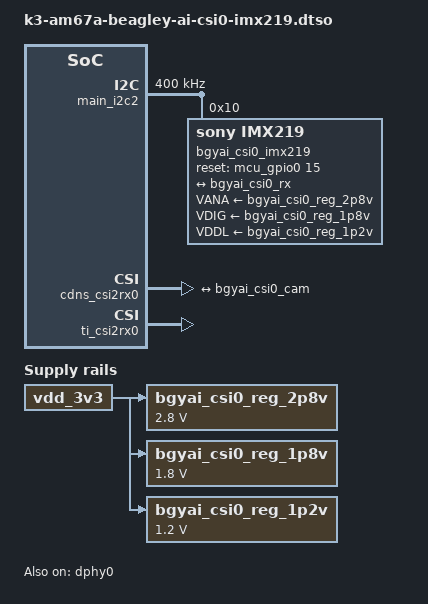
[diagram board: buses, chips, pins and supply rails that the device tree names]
// SPDX-License-Identifier: GPL-2.0-only OR MIT
/*
 * DT Overlay for Raspberry Pi Camera V2.1 on BeagleY-AI CSI0.
 *
 * Schematics: https://datasheets.raspberrypi.com/camera/camera-v2-schematics.pdf
 */

/dts-v1/;
/plugin/;

#include <dt-bindings/gpio/gpio.h>
#include "k3-pinctrl.h"

&{/} {
	bgyai_csi0_clk_imx219: clock-24000000 {
		compatible = "fixed-clock";
		#clock-cells = <0>;
		clock-frequency = <24000000>;
	};

	bgyai_csi0_reg_2p8v: regulator-camera-2p8v {
		compatible = "regulator-fixed";
		regulator-name = "camera-2p8v";
		regulator-min-microvolt = <2800000>;
		regulator-max-microvolt = <2800000>;
		vin-supply = <&vdd_3v3>;
		regulator-always-on;
	};

	bgyai_csi0_reg_1p8v: regulator-camera-1p8v {
		compatible = "regulator-fixed";
		regulator-name = "camera-1p8v";
		regulator-min-microvolt = <1800000>;
		regulator-max-microvolt = <1800000>;
		vin-supply = <&vdd_3v3>;
		regulator-always-on;
	};

	bgyai_csi0_reg_1p2v: regulator-camera-1p2v {
		compatible = "regulator-fixed";
		regulator-name = "camera-1p2v";
		regulator-min-microvolt = <1200000>;
		regulator-max-microvolt = <1200000>;
		vin-supply = <&vdd_3v3>;
		regulator-always-on;
	};
};

&mcu_pmx0 {
	bgyai_csi0_reset_pins_default: bgyai-csi0-reset-default-pins {
		pinctrl-single,pins = <
			J722S_MCU_IOPAD(0x003c, PIN_OUTPUT, 7) /* MCU_MCAN1_TX.MCU_GPIO0_15 */
		>;
	};
};

&main_pmx0 {
	bgyai_csi0_i2c2_pins_default: bgyai-csi0-i2c2-default-pins {
		pinctrl-single,pins = <
			J722S_IOPAD(0x00b0, PIN_INPUT_PULLUP, 1) /* GPMC0_CSn2.I2C2_SCL */
			J722S_IOPAD(0x00b4, PIN_INPUT_PULLUP, 1) /* GPMC0_CSn3.I2C2_SDA */
		>;
	};
};

&mcu_gpio0 {
	status = "okay";
};

&main_i2c2 {
	pinctrl-names = "default";
	pinctrl-0 = <&bgyai_csi0_i2c2_pins_default>;
	clock-frequency = <400000>;
	#address-cells = <1>;
	#size-cells = <0>;
	status = "okay";

	bgyai_csi0_imx219: sensor@10 {
		compatible = "sony,imx219";
		reg = <0x10>;

		clocks = <&bgyai_csi0_clk_imx219>;

		VANA-supply = <&bgyai_csi0_reg_2p8v>;
		VDIG-supply = <&bgyai_csi0_reg_1p8v>;
		VDDL-supply = <&bgyai_csi0_reg_1p2v>;

		pinctrl-names = "default";
		pinctrl-0 = <&bgyai_csi0_reset_pins_default>;
		reset-gpios = <&mcu_gpio0 15 GPIO_ACTIVE_HIGH>;

		port {
			bgyai_csi0_cam: endpoint {
				remote-endpoint = <&bgyai_csi0_rx>;
				link-frequencies = /bits/ 64 <456000000>;
				clock-lanes = <0>;
				data-lanes = <1 2>;
			};
		};
	};
};

&cdns_csi2rx0 {
	ports {
		#address-cells = <1>;
		#size-cells = <0>;

		port@0 {
			reg = <0>;
			status = "okay";

			bgyai_csi0_rx: endpoint {
				remote-endpoint = <&bgyai_csi0_cam>;
				bus-type = <4>; /* CSI2 DPHY */
				clock-lanes = <0>;
				data-lanes = <1 2>;
			};
		};
	};
};

&ti_csi2rx0 {
	status = "okay";
};

&dphy0 {
	status = "okay";
};
